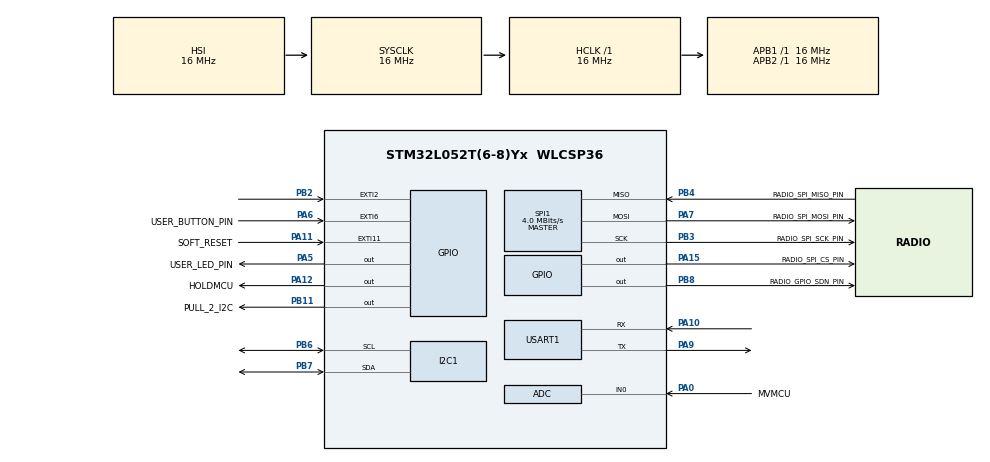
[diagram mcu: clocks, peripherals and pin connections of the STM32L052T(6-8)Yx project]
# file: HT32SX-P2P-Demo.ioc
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ADC.ClockPrescaler=ADC_CLOCK_SYNC_PCLK_DIV1
ADC.LowPowerAutoPowerOff=DISABLE
ADC.LowPowerAutoWait=ENABLE
ADC.Resolution=ADC_RESOLUTION_12B
ADC.SamplingTime=ADC_SAMPLETIME_1CYCLE_5
I2C1.Timing=0x00303D5B
Mcu.Family=STM32L0
Mcu.Name=STM32L052T(6-8)Yx
Mcu.Package=WLCSP36
NVIC.EXTI2_3_IRQn=true\:0\:0\:false\:false\:true\:true\:true\:true
NVIC.EXTI4_15_IRQn=true\:2\:0\:true\:false\:true\:true\:true\:true
PA0.GPIO_Label=MVMCU
PA0.Mode=IN0
PA0.Signal=ADC_IN0
PA10.Mode=Asynchronous
PA10.Signal=USART1_RX
PA11.GPIO_Label=SOFT_RESET
PA11.GPIO_ModeDefaultEXTI=GPIO_MODE_IT_FALLING
PA11.GPIO_PuPd=GPIO_PULLUP
PA11.Signal=GPXTI11
PA12.GPIO_Label=HOLDMCU
PA12.PinState=GPIO_PIN_SET
PA12.Signal=GPIO_Output
PA13.Mode=Serial_Wire
PA13.Signal=SYS_SWDIO
PA14.Mode=Serial_Wire
PA14.Signal=SYS_SWCLK
PA15.GPIO_Label=RADIO_SPI_CS_PIN
PA15.GPIO_PuPd=GPIO_PULLUP
PA15.GPIO_Speed=GPIO_SPEED_FREQ_HIGH
PA15.PinState=GPIO_PIN_SET
PA15.Signal=GPIO_Output
PA5.GPIO_Label=USER_LED_PIN
PA5.GPIO_Speed=GPIO_SPEED_FREQ_VERY_HIGH
PA5.PinState=GPIO_PIN_SET
PA5.Signal=GPIO_Output
PA6.GPIO_Label=USER_BUTTON_PIN
PA6.GPIO_ModeDefaultEXTI=GPIO_MODE_IT_FALLING
PA6.GPIO_PuPd=GPIO_PULLUP
PA6.Signal=GPXTI6
PA7.GPIO_Label=RADIO_SPI_MOSI_PIN
PA7.Mode=Full_Duplex_Master
PA7.Signal=SPI1_MOSI
PA9.Mode=Asynchronous
PA9.Signal=USART1_TX
PB11.GPIO_Label=PULL_2_I2C
PB11.PinState=GPIO_PIN_SET
PB11.Signal=GPIO_Output
PB2.GPIO_ModeDefaultEXTI=GPIO_MODE_IT_FALLING
PB2.Signal=GPXTI2
PB3.GPIO_Label=RADIO_SPI_SCK_PIN
PB3.Mode=Full_Duplex_Master
PB3.Signal=SPI1_SCK
PB4.GPIO_Label=RADIO_SPI_MISO_PIN
PB4.Mode=Full_Duplex_Master
PB4.Signal=SPI1_MISO
PB6.Mode=I2C
PB6.Signal=I2C1_SCL
PB7.Mode=I2C
PB7.Signal=I2C1_SDA
PB8.GPIO_Label=RADIO_GPIO_SDN_PIN
PB8.GPIO_Speed=GPIO_SPEED_FREQ_HIGH
PB8.Signal=GPIO_Output
ProjectManager.HeapSize=0x200
ProjectManager.StackSize=0x400
ProjectManager.TargetToolchain=STM32CubeIDE
RCC.AHBFreq_Value=16000000
RCC.APB1Freq_Value=16000000
RCC.APB1TimFreq_Value=16000000
RCC.APB2Freq_Value=16000000
RCC.APB2TimFreq_Value=16000000
RCC.HCLKFreq_Value=16000000
RCC.HSI16_VALUE=16000000
RCC.HSI48_VALUE=48000000
RCC.HSI_VALUE=16000000
RCC.LSE_VALUE=32768
RCC.MSI_VALUE=2097000
RCC.PLLMUL=RCC_PLLMUL_4
RCC.SYSCLKFreq_VALUE=16000000
RCC.SYSCLKSource=RCC_SYSCLKSOURCE_HSI
RCC.VCOOutputFreq_Value=64000000
SPI1.BaudRatePrescaler=SPI_BAUDRATEPRESCALER_4
SPI1.CalculateBaudRate=4.0 MBits/s
SPI1.Direction=SPI_DIRECTION_2LINES
SPI1.Mode=SPI_MODE_MASTER
SPI1.VirtualType=VM_MASTER
USART1.VirtualMode-Asynchronous=VM_ASYNC
board=custom

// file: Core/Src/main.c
/* USER CODE BEGIN Header */
/**
 ******************************************************************************
 * @file           : main.c
 * @brief          : Main program body
 ******************************************************************************
 * @attention
 *
 * <h2><center>&copy; Copyright (c) 2020 STMicroelectronics.
 * All rights reserved.</center></h2>
 *
 * This software component is licensed by ST under BSD 3-Clause license,
 * the "License"; You may not use this file except in compliance with the
 * License. You may obtain a copy of the License at:
 *                        opensource.org/licenses/BSD-3-Clause
 *
 ******************************************************************************
 */

/* USER CODE END Header */
#include "main.h"
#include "adc.h"
#include "i2c.h"
#include "spi.h"
#include "usart.h"
#include "gpio.h"

/* USER CODE BEGIN Includes */
//#include "HT_P2P_app.h"
#include "string.h"
/* USER CODE END Includes */

/* USER CODE BEGIN PTD */
#include "RV_3032.h"
#include "TCC.h"
/* USER CODE END PTD */

void SystemClock_Config(void);

/* USER CODE BEGIN 0 */

uint16_t tensao = 0;
int8_t temperatura = 0;
uint32_t epoch;
uint32_t payload;
/* USER CODE END 0 */

int main(void)
{

  /* MCU Configuration--------------------------------------------------------*/

  /* Reset of all peripherals, Initializes the Flash interface and the Systick. */
  HAL_Init();

  /* Configure the system clock */
  SystemClock_Config();

  /* Initialize all configured peripherals */
  MX_GPIO_Init();
  MX_SPI1_Init();
  MX_USART1_UART_Init();
  MX_I2C1_Init();
  MX_ADC_Init();
  /* USER CODE BEGIN 2 */
	TCC_Radio();

	//clearData();

  /* USER CODE END 2 */

  /* Infinite loop */
  /* USER CODE BEGIN WHILE */

	//Chega aqui com 22ms após o reset
	while (1)
	{
    /* USER CODE END WHILE */

    /* USER CODE BEGIN 3 */
		HAL_GPIO_WritePin(HOLDMCU_GPIO_Port,HOLDMCU_Pin, HIGH);
		HAL_GPIO_WritePin(HOLDMCU_GPIO_Port,USER_LED_PIN_Pin, HIGH);

		//Read o Voltage (44us)
		tensao = readVoltage();

		//Read RTC (1.950ms)
		updateTime();
		HAL_GPIO_TogglePin(HOLDMCU_GPIO_Port,USER_LED_PIN_Pin);

		//Read Temperature (536us)
		temperatura = getTemperature();
		HAL_GPIO_TogglePin(HOLDMCU_GPIO_Port,USER_LED_PIN_Pin);

		//Make Time Stamp (93.2us)
		epoch = getEpoch();

		//Make Payload (1.82us)
		payload = epoch & 0xFFFFFF00;
		payload |= (temperatura+128);

		//Salva na memória (13.2ms)
		saveData(payload);
		HAL_GPIO_TogglePin(HOLDMCU_GPIO_Port,USER_LED_PIN_Pin);

#ifdef SEND_DATA
		//Executa a transmissão (11.9ms)
		TCC_Transmit(payload);
#endif

		HAL_GPIO_WritePin(HOLDMCU_GPIO_Port,USER_LED_PIN_Pin, HIGH);

		tensao *= 0.1363;
		printf("VCap: %u.%u V\n",tensao/100,tensao%100);

		HAL_GPIO_WritePin(HOLDMCU_GPIO_Port,HOLDMCU_Pin, LOW);
		while(1);

		HAL_Delay(500);
#ifdef SHOW_DATA
		tensao *= 0.1363;
		printf("VCap: %u.%u V\n",tensao/100,tensao%100);
		printf("Data: %s\t%s\n",stringDate(),stringTime());
		printf("Temp: %u °C\n",temperatura);
		printf("Payload: %08lX\n",payload);
		printMemory();
#endif

		//HAL_GPIO_WritePin(HOLDMCU_GPIO_Port,USER_LED_PIN_Pin, LOW);
		//HAL_GPIO_TogglePin(HOLDMCU_GPIO_Port,USER_LED_PIN_Pin);
		HAL_GPIO_WritePin(HOLDMCU_GPIO_Port,HOLDMCU_Pin, LOW);
		while(1);
	}
  /* USER CODE END 3 */
}

void SystemClock_Config(void)
{
  RCC_OscInitTypeDef RCC_OscInitStruct = {0};
  RCC_ClkInitTypeDef RCC_ClkInitStruct = {0};
  RCC_PeriphCLKInitTypeDef PeriphClkInit = {0};

  /** Configure the main internal regulator output voltage
  */
  __HAL_PWR_VOLTAGESCALING_CONFIG(PWR_REGULATOR_VOLTAGE_SCALE1);
  /** Initializes the RCC Oscillators according to the specified parameters
  * in the RCC_OscInitTypeDef structure.
  */
  RCC_OscInitStruct.OscillatorType = RCC_OSCILLATORTYPE_HSI;
  RCC_OscInitStruct.HSIState = RCC_HSI_ON;
  RCC_OscInitStruct.HSICalibrationValue = RCC_HSICALIBRATION_DEFAULT;
  RCC_OscInitStruct.PLL.PLLState = RCC_PLL_NONE;
  if (HAL_RCC_OscConfig(&RCC_OscInitStruct) != HAL_OK)
  {
    Error_Handler();
  }
  /** Initializes the CPU, AHB and APB buses clocks
  */
  RCC_ClkInitStruct.ClockType = RCC_CLOCKTYPE_HCLK|RCC_CLOCKTYPE_SYSCLK
                              |RCC_CLOCKTYPE_PCLK1|RCC_CLOCKTYPE_PCLK2;
  RCC_ClkInitStruct.SYSCLKSource = RCC_SYSCLKSOURCE_HSI;
  RCC_ClkInitStruct.AHBCLKDivider = RCC_SYSCLK_DIV1;
  RCC_ClkInitStruct.APB1CLKDivider = RCC_HCLK_DIV1;
  RCC_ClkInitStruct.APB2CLKDivider = RCC_HCLK_DIV1;

  if (HAL_RCC_ClockConfig(&RCC_ClkInitStruct, FLASH_LATENCY_0) != HAL_OK)
  {
    Error_Handler();
  }
  PeriphClkInit.PeriphClockSelection = RCC_PERIPHCLK_USART1|RCC_PERIPHCLK_I2C1;
  PeriphClkInit.Usart1ClockSelection = RCC_USART1CLKSOURCE_PCLK2;
  PeriphClkInit.I2c1ClockSelection = RCC_I2C1CLKSOURCE_PCLK1;
  if (HAL_RCCEx_PeriphCLKConfig(&PeriphClkInit) != HAL_OK)
  {
    Error_Handler();
  }
}

void Error_Handler(void)
{
}

/************************ (C) COPYRIGHT STMicroelectronics *****END OF FILE****/
